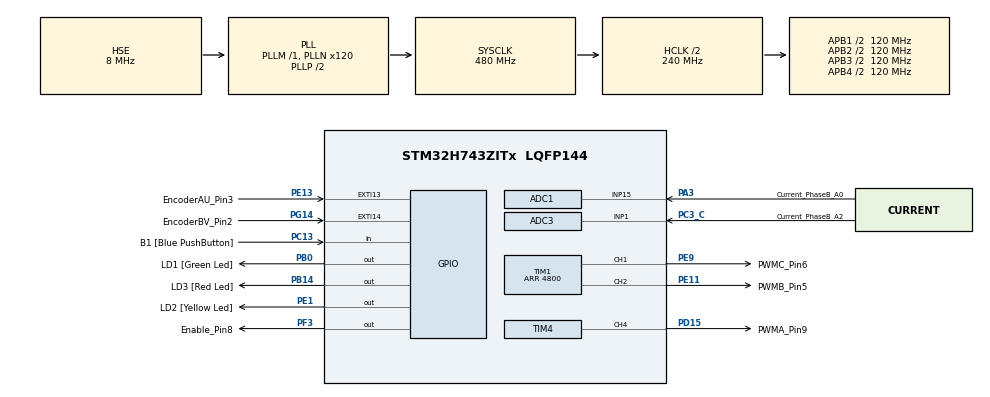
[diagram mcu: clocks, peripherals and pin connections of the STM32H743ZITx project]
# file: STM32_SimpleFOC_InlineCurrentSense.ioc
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ADC1.Channel-0\#ChannelRegularConversion=ADC_CHANNEL_15
ADC1.NbrOfConversionFlag=1
ADC1.OffsetNumber-0\#ChannelRegularConversion=ADC_OFFSET_NONE
ADC1.OffsetSignedSaturation-0\#ChannelRegularConversion=DISABLE
ADC1.Rank-0\#ChannelRegularConversion=1
ADC1.SamplingTime-0\#ChannelRegularConversion=ADC_SAMPLETIME_16CYCLES_5
ADC1.master=1
ADC3.Channel-0\#ChannelRegularConversion=ADC_CHANNEL_1
ADC3.NbrOfConversionFlag=1
ADC3.OffsetNumber-0\#ChannelRegularConversion=ADC_OFFSET_NONE
ADC3.OffsetSignedSaturation-0\#ChannelRegularConversion=DISABLE
ADC3.Rank-0\#ChannelRegularConversion=1
ADC3.SamplingTime-0\#ChannelRegularConversion=ADC_SAMPLETIME_16CYCLES_5
Mcu.Family=STM32H7
Mcu.Name=STM32H743ZITx
Mcu.Package=LQFP144
NVIC.EXTI15_10_IRQn=true\:0\:0\:false\:false\:true\:true\:true
NVIC.PriorityGroup=NVIC_PRIORITYGROUP_4
PA3.GPIO_Label=Current_PhaseB_A0
PA3.Signal=ADCx_INP15
PB0.GPIO_Label=LD1 [Green Led]
PB0.Signal=GPIO_Output
PB14.GPIO_Label=LD3 [Red Led]
PB14.Signal=GPIO_Output
PC13.GPIO_Label=B1 [Blue PushButton]
PC13.Signal=GPIO_Input
PC14-OSC32_IN\ (OSC32_IN).Mode=LSE-External-Oscillator
PC14-OSC32_IN\ (OSC32_IN).Signal=RCC_OSC32_IN
PC15-OSC32_OUT\ (OSC32_OUT).Mode=LSE-External-Oscillator
PC15-OSC32_OUT\ (OSC32_OUT).Signal=RCC_OSC32_OUT
PC3_C.GPIO_Label=Current_PhaseB_A2
PC3_C.Mode=IN1-Single-Ended
PC3_C.Signal=ADC3_INP1
PD15.GPIO_Label=PWMA_Pin9
PD15.Signal=S_TIM4_CH4
PE1.GPIO_Label=LD2 [Yellow Led]
PE1.Signal=GPIO_Output
PE11.GPIO_Label=PWMB_Pin5
PE11.Signal=S_TIM1_CH2
PE13.GPIO_Label=EncoderAU_Pin3
PE13.GPIO_ModeDefaultEXTI=GPIO_MODE_IT_RISING_FALLING
PE13.Signal=GPXTI13
PE9.GPIO_Label=PWMC_Pin6
PE9.Signal=S_TIM1_CH1
PF3.GPIO_Label=Enable_Pin8
PF3.Signal=GPIO_Output
PG14.GPIO_Label=EncoderBV_Pin2
PG14.GPIO_ModeDefaultEXTI=GPIO_MODE_IT_RISING_FALLING
PG14.Signal=GPXTI14
PH0-OSC_IN\ (PH0).Mode=HSE-External-Oscillator
PH0-OSC_IN\ (PH0).Signal=RCC_OSC_IN
PH1-OSC_OUT\ (PH1).Mode=HSE-External-Oscillator
PH1-OSC_OUT\ (PH1).Signal=RCC_OSC_OUT
ProjectManager.HeapSize=0x200
ProjectManager.StackSize=0x400
ProjectManager.TargetToolchain=STM32CubeIDE
RCC.ADCFreq_Value=76000000
RCC.APB1Freq_Value=120000000
RCC.APB2Freq_Value=120000000
RCC.APB3Freq_Value=120000000
RCC.APB4Freq_Value=120000000
RCC.CortexFreq_Value=480000000
RCC.D1PPRE=RCC_APB3_DIV2
RCC.D2PPRE1=RCC_APB1_DIV2
RCC.D2PPRE2=RCC_APB2_DIV2
RCC.D3PPRE=RCC_APB4_DIV2
RCC.DIVM1=1
RCC.DIVM2=1
RCC.DIVN1=120
RCC.DIVN2=19
RCC.DIVQ1=20
RCC.HCLKFreq_Value=240000000
RCC.HPRE=RCC_HCLK_DIV2
RCC.HSE_VALUE=8000000
RCC.PLL2FRACN=0
RCC.PLL3FRACN=0
RCC.PLLFRACN=0
RCC.PLLSourceVirtual=RCC_PLLSOURCE_HSE
RCC.SYSCLKFreq_VALUE=480000000
RCC.SYSCLKSource=RCC_SYSCLKSOURCE_PLLCLK
RCC.USBFreq_Value=48000000
SH.ADCx_INP15.0=ADC1_INP15,IN15-Single-Ended
SH.S_TIM1_CH1.0=TIM1_CH1,PWM Generation1 CH1
SH.S_TIM1_CH2.0=TIM1_CH2,PWM Generation2 CH2
SH.S_TIM4_CH4.0=TIM4_CH4,PWM Generation4 CH4
TIM1.Channel-PWM\ Generation1\ CH1=TIM_CHANNEL_1
TIM1.Channel-PWM\ Generation2\ CH2=TIM_CHANNEL_2
TIM1.CounterMode=TIM_COUNTERMODE_CENTERALIGNED3
TIM1.OCMode_PWM-PWM\ Generation1\ CH1=TIM_OCMODE_PWM2
TIM1.OCMode_PWM-PWM\ Generation2\ CH2=TIM_OCMODE_PWM2
TIM1.Period=4800
TIM4.Channel-PWM\ Generation4\ CH4=TIM_CHANNEL_4
TIM4.CounterMode=TIM_COUNTERMODE_CENTERALIGNED3
TIM4.OCMode_PWM-PWM\ Generation4\ CH4=TIM_OCMODE_PWM2
TIM4.Period=4800
board=NUCLEO-H743ZI2

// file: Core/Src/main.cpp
/* USER CODE BEGIN Header */
/**
  ******************************************************************************
  * @file           : main.c
  * @brief          : Main program body
  ******************************************************************************
  * @attention
  *
  * <h2><center>&copy; Copyright (c) 2021 STMicroelectronics.
  * All rights reserved.</center></h2>
  *
  * This software component is licensed by ST under BSD 3-Clause license,
  * the "License"; You may not use this file except in compliance with the
  * License. You may obtain a copy of the License at:
  *                        opensource.org/licenses/BSD-3-Clause
  *
  ******************************************************************************
  */
/* USER CODE END Header */
#include "main.h"
//#include "sensors/Encoder.hpp"
#include "SimpleFOC.hpp"

ADC_HandleTypeDef hadc1;
ADC_HandleTypeDef hadc3;

TIM_HandleTypeDef htim1;
TIM_HandleTypeDef htim4;

/* USER CODE BEGIN PV */
BLDCMotor motor = BLDCMotor(15);
BLDCDriver3PWM driver = BLDCDriver3PWM(9, 5, 6, 8);
Encoder encoder = Encoder(2,3, 800); //these pins, and values are actually hardcoded
InlineCurrentSense current_sense = InlineCurrentSense(0.01, 50.0, phaseA, phaseB); //pins are hardcoded
/* USER CODE END PV */

void SystemClock_Config(void);
static void MX_GPIO_Init(void);
static void MX_ADC1_Init(void);
static void MX_ADC3_Init(void);
static void MX_TIM1_Init(void);
static void MX_TIM4_Init(void);

/* USER CODE BEGIN 0 */
// function setting the pwm duty cycle to the hardware
// - BLDC motor - 3PWM setting
//- hardware specific
void _writeDutyCycle3PWM(float dc_a,  float dc_b, float dc_c, int pinA, int pinB, int pinC){
	//FIXME - needed to change order of phases
	int pwm_range = htim1.Instance->ARR;
	htim1.Instance->CCR1 = (int)(dc_c * pwm_range);
	htim1.Instance->CCR2 = (int)(dc_a * pwm_range);
	pwm_range = htim4.Instance->ARR;
	htim4.Instance->CCR4 = (int)(dc_b * pwm_range);
}

// function reading an ADC value and returning the read voltage
float _readADCVoltage_pinA(void){
	  HAL_ADC_Start(&hadc1);
	  HAL_ADC_PollForConversion(&hadc1, HAL_MAX_DELAY);
	  return HAL_ADC_GetValue(&hadc1);
}

float _readADCVoltage_pinB(void) {
	  HAL_ADC_Start(&hadc3);
	  HAL_ADC_PollForConversion(&hadc3, HAL_MAX_DELAY);
	  return HAL_ADC_GetValue(&hadc3);
}

int _calibrate_phaseA(void) {
	int sum = 0;
	//calibration process, the calculated calibration value (offset) should be automatically applied
	//during subsequent conversions
	HAL_ADCEx_Calibration_Start(&hadc1, ADC_CALIB_OFFSET_LINEARITY, ADC_SINGLE_ENDED);
	for (int i = 0; i < 100; i++) {
		HAL_ADC_Start(&hadc1);
		HAL_ADC_PollForConversion(&hadc1, HAL_MAX_DELAY);
		sum += HAL_ADC_GetValue(&hadc1);
	}
	return (float)(sum/100.0);
}

int _calibrate_phaseB(void) {
	int sum = 0;
	//calibration process, the calculated calibration value (offset) should be automatically applied
	//during subsequent conversions
	HAL_ADCEx_Calibration_Start(&hadc3, ADC_CALIB_OFFSET_LINEARITY, ADC_SINGLE_ENDED);
	for (int i = 0; i < 100; i++) {
		HAL_ADC_Start(&hadc3);
		HAL_ADC_PollForConversion(&hadc3, HAL_MAX_DELAY);
		sum += HAL_ADC_GetValue(&hadc3);
	}
	return (float)(sum/100);
}
/* USER CODE END 0 */

int main(void)
{

  /* MCU Configuration--------------------------------------------------------*/

  /* Reset of all peripherals, Initializes the Flash interface and the Systick. */
    HAL_Init();

  /* Configure the system clock */
  SystemClock_Config();

  /* Initialize all configured peripherals */
  MX_GPIO_Init();
  MX_ADC1_Init();
  MX_ADC3_Init();
  MX_TIM1_Init();
  MX_TIM4_Init();
  /* USER CODE BEGIN 2 */
  HAL_TIM_Base_Start(&htim1);
  HAL_TIM_Base_Start(&htim4);

  HAL_TIM_PWM_Start(&htim1, TIM_CHANNEL_1);
  HAL_TIM_PWM_Start(&htim1, TIM_CHANNEL_2);
  HAL_TIM_PWM_Start(&htim4, TIM_CHANNEL_4);

// calibration must occur prior to ADC start
//  HAL_ADCEx_Calibration_Start(&hadc1, ADC_CALIB_OFFSET_LINEARITY, ADC_SINGLE_ENDED);
//  int cal_value1 = HAL_ADCEx_Calibration_GetValue(&hadc1, ADC_SINGLE_ENDED);
//  HAL_ADCEx_Calibration_Start(&hadc3, ADC_CALIB_OFFSET_LINEARITY, ADC_SINGLE_ENDED);
//  int cal_value2 = HAL_ADCEx_Calibration_GetValue(&hadc3, ADC_SINGLE_ENDED);
////
//  uint16_t raw;
//
  //  HAL_ADC_Start(&hadc1);
  //  HAL_ADC_Start(&hadc3);
//  HAL_ADC_PollForConversion(&hadc1, HAL_MAX_DELAY);
//  raw = HAL_ADC_GetValue(&hadc1);
//  float voltage_adc1 = ((float)(raw - cal_value1) / 65536) * 3.3;
//  HAL_ADC_PollForConversion(&hadc3, HAL_MAX_DELAY);
//  raw = HAL_ADC_GetValue(&hadc3);
//  float voltage_adc2 = ((float)(raw - cal_value2) / 65536) * 3.3;

//  //open loop velocity example:
//  float target_velocity = 2;//0;
//  //power supply voltage [V]
//  driver.voltage_power_supply = 24;
//  driver.init();
//  //link the motor and the driver
//  motor.linkDriver(&driver);
//  //limiting motor movements
//  motor.voltage_limit = 3; //[V]
//  motor.velocity_limit = 5; //[rad/s]
//  //open loop control config:
//  motor.controller = MotionControlType::velocity_openloop;
//  //init motor hardware
//  motor.init();

    //closed loop velocity example:
  encoder.init();
  //link the motor to the sensor:
  motor.linkSensor(&encoder);
  //driver config:
  driver.voltage_power_supply = 24;
  driver.init();
  //link the motor and the driver:
  motor.linkDriver(&driver);
  //aligning the voltage [V]
  motor.voltage_sensor_align = 3;
  //index search velocity [rad/s]
  motor.velocity_index_search = 3;
  //set motion control loop to be used
  motor.foc_modulation = FOCModulationType::SpaceVectorPWM;
  motor.controller = MotionControlType::torque;
  motor.torque_controller = TorqueControlType::dc_current;//foc_current;//dc_current;//voltage;
  //controller config:
  //see default parameters in defaults.h
  //velocity PI controller parameters
  motor.PID_velocity.P = 0.2;//0.05;
  motor.PID_velocity.I = 20;
  motor.PID_velocity.D = 0;
  //default voltage_power_supply
  motor.voltage_limit = 12;
  //jerk control using voltage voltage ramp
  //default value is 300 volts per sec, ~0.3V/millisec
  motor.PID_velocity.output_ramp = 1000;
  //velocity low pass filtering time constant
  motor.LPF_velocity.Tf = 0.01;
  //angle loop controller
  motor.P_angle.P = 20;
  //angle loop velocity limit
  motor.velocity_limit = 20;
  //current sense init and linking
  current_sense.init();
  motor.linkCurrentSense(&current_sense);

  //initialise motor
  motor.init();
  //align sensor and start FOC
  motor.initFOC();

  int idx = 0;

  _delay(1000);

  /* USER CODE END 2 */

  /* Infinite loop */
  /* USER CODE BEGIN WHILE */
  motor.target = 0.5;// 0.25;
  while (1)
  {
	    /* USER CODE END WHILE */

	    /* USER CODE BEGIN 3 */
//		  HAL_ADC_Start(&hadc1);
//		  HAL_ADC_PollForConversion(&hadc1, HAL_MAX_DELAY);
//		  raw = HAL_ADC_GetValue(&hadc1);
//		  HAL_GPIO_TogglePin(LD1_GPIO_Port, LD1_Pin);
//		  float voltage_adc1 = ((float)(raw - cal_value1) * 3.3) / 65536;
//		  voltage_adc2 = voltage_adc1;

//	  //open loop velocity example:
//	  if (idx % 10000 == 0) {
//		  motor.move(target_velocity);
//	  }
//	  idx++;

	 //   PhaseCurrent_s currents = current_sense.getPhaseCurrents();
	//  current_magnitude = current_sense.getDCCurrent();
	  motor.loopFOC();
	  if (idx % 1000 == 0) {
		  motor.move();//target_velocity);
	  }
	  idx++;
  }
  /* USER CODE END 3 */
}

void SystemClock_Config(void)
{
  RCC_OscInitTypeDef RCC_OscInitStruct = {0};
  RCC_ClkInitTypeDef RCC_ClkInitStruct = {0};
  RCC_PeriphCLKInitTypeDef PeriphClkInitStruct = {0};

  /** Supply configuration update enable
  */
  HAL_PWREx_ConfigSupply(PWR_LDO_SUPPLY);
  /** Configure the main internal regulator output voltage
  */
  __HAL_PWR_VOLTAGESCALING_CONFIG(PWR_REGULATOR_VOLTAGE_SCALE0);

  while(!__HAL_PWR_GET_FLAG(PWR_FLAG_VOSRDY)) {}
  /** Macro to configure the PLL clock source
  */
  __HAL_RCC_PLL_PLLSOURCE_CONFIG(RCC_PLLSOURCE_HSE);
  /** Initializes the RCC Oscillators according to the specified parameters
  * in the RCC_OscInitTypeDef structure.
  */
  RCC_OscInitStruct.OscillatorType = RCC_OSCILLATORTYPE_HSE;
  RCC_OscInitStruct.HSEState = RCC_HSE_ON;
  RCC_OscInitStruct.PLL.PLLState = RCC_PLL_ON;
  RCC_OscInitStruct.PLL.PLLSource = RCC_PLLSOURCE_HSE;
  RCC_OscInitStruct.PLL.PLLM = 1;
  RCC_OscInitStruct.PLL.PLLN = 120;
  RCC_OscInitStruct.PLL.PLLP = 2;
  RCC_OscInitStruct.PLL.PLLQ = 20;
  RCC_OscInitStruct.PLL.PLLR = 2;
  RCC_OscInitStruct.PLL.PLLRGE = RCC_PLL1VCIRANGE_3;
  RCC_OscInitStruct.PLL.PLLVCOSEL = RCC_PLL1VCOWIDE;
  RCC_OscInitStruct.PLL.PLLFRACN = 0;
  if (HAL_RCC_OscConfig(&RCC_OscInitStruct) != HAL_OK)
  {
    Error_Handler();
  }
  /** Initializes the CPU, AHB and APB buses clocks
  */
  RCC_ClkInitStruct.ClockType = RCC_CLOCKTYPE_HCLK|RCC_CLOCKTYPE_SYSCLK
                              |RCC_CLOCKTYPE_PCLK1|RCC_CLOCKTYPE_PCLK2
                              |RCC_CLOCKTYPE_D3PCLK1|RCC_CLOCKTYPE_D1PCLK1;
  RCC_ClkInitStruct.SYSCLKSource = RCC_SYSCLKSOURCE_PLLCLK;
  RCC_ClkInitStruct.SYSCLKDivider = RCC_SYSCLK_DIV1;
  RCC_ClkInitStruct.AHBCLKDivider = RCC_HCLK_DIV2;
  RCC_ClkInitStruct.APB3CLKDivider = RCC_APB3_DIV2;
  RCC_ClkInitStruct.APB1CLKDivider = RCC_APB1_DIV2;
  RCC_ClkInitStruct.APB2CLKDivider = RCC_APB2_DIV2;
  RCC_ClkInitStruct.APB4CLKDivider = RCC_APB4_DIV2;

  if (HAL_RCC_ClockConfig(&RCC_ClkInitStruct, FLASH_LATENCY_4) != HAL_OK)
  {
    Error_Handler();
  }
  PeriphClkInitStruct.PeriphClockSelection = RCC_PERIPHCLK_ADC;
  PeriphClkInitStruct.PLL2.PLL2M = 1;
  PeriphClkInitStruct.PLL2.PLL2N = 19;
  PeriphClkInitStruct.PLL2.PLL2P = 2;
  PeriphClkInitStruct.PLL2.PLL2Q = 2;
  PeriphClkInitStruct.PLL2.PLL2R = 2;
  PeriphClkInitStruct.PLL2.PLL2RGE = RCC_PLL2VCIRANGE_3;
  PeriphClkInitStruct.PLL2.PLL2VCOSEL = RCC_PLL2VCOMEDIUM;
  PeriphClkInitStruct.PLL2.PLL2FRACN = 0;
  PeriphClkInitStruct.AdcClockSelection = RCC_ADCCLKSOURCE_PLL2;
  if (HAL_RCCEx_PeriphCLKConfig(&PeriphClkInitStruct) != HAL_OK)
  {
    Error_Handler();
  }
}

static void MX_ADC1_Init(void)
{

  ADC_MultiModeTypeDef multimode = {0};
  ADC_ChannelConfTypeDef sConfig = {0};

  /** Common config
  */
  hadc1.Instance = ADC1;
  hadc1.Init.ClockPrescaler = ADC_CLOCK_ASYNC_DIV1;
  hadc1.Init.Resolution = ADC_RESOLUTION_16B;
  hadc1.Init.ScanConvMode = ADC_SCAN_DISABLE;
  hadc1.Init.EOCSelection = ADC_EOC_SINGLE_CONV;
  hadc1.Init.LowPowerAutoWait = DISABLE;
  hadc1.Init.ContinuousConvMode = DISABLE;
  hadc1.Init.NbrOfConversion = 1;
  hadc1.Init.DiscontinuousConvMode = DISABLE;
  hadc1.Init.ExternalTrigConv = ADC_SOFTWARE_START;
  hadc1.Init.ExternalTrigConvEdge = ADC_EXTERNALTRIGCONVEDGE_NONE;
  hadc1.Init.ConversionDataManagement = ADC_CONVERSIONDATA_DR;
  hadc1.Init.Overrun = ADC_OVR_DATA_PRESERVED;
  hadc1.Init.LeftBitShift = ADC_LEFTBITSHIFT_NONE;
  hadc1.Init.OversamplingMode = DISABLE;
  if (HAL_ADC_Init(&hadc1) != HAL_OK)
  {
    Error_Handler();
  }
  /** Configure the ADC multi-mode
  */
  multimode.Mode = ADC_MODE_INDEPENDENT;
  if (HAL_ADCEx_MultiModeConfigChannel(&hadc1, &multimode) != HAL_OK)
  {
    Error_Handler();
  }
  /** Configure Regular Channel
  */
  sConfig.Channel = ADC_CHANNEL_15;
  sConfig.Rank = ADC_REGULAR_RANK_1;
  sConfig.SamplingTime = ADC_SAMPLETIME_16CYCLES_5;
  sConfig.SingleDiff = ADC_SINGLE_ENDED;
  sConfig.OffsetNumber = ADC_OFFSET_NONE;
  sConfig.Offset = 0;
  sConfig.OffsetSignedSaturation = DISABLE;
  if (HAL_ADC_ConfigChannel(&hadc1, &sConfig) != HAL_OK)
  {
    Error_Handler();
  }

}

static void MX_ADC3_Init(void)
{

  ADC_ChannelConfTypeDef sConfig = {0};

  /** Common config
  */
  hadc3.Instance = ADC3;
  hadc3.Init.ClockPrescaler = ADC_CLOCK_ASYNC_DIV1;
  hadc3.Init.Resolution = ADC_RESOLUTION_16B;
  hadc3.Init.ScanConvMode = ADC_SCAN_DISABLE;
  hadc3.Init.EOCSelection = ADC_EOC_SINGLE_CONV;
  hadc3.Init.LowPowerAutoWait = DISABLE;
  hadc3.Init.ContinuousConvMode = DISABLE;
  hadc3.Init.NbrOfConversion = 1;
  hadc3.Init.DiscontinuousConvMode = DISABLE;
  hadc3.Init.ExternalTrigConv = ADC_SOFTWARE_START;
  hadc3.Init.ExternalTrigConvEdge = ADC_EXTERNALTRIGCONVEDGE_NONE;
  hadc3.Init.ConversionDataManagement = ADC_CONVERSIONDATA_DR;
  hadc3.Init.Overrun = ADC_OVR_DATA_PRESERVED;
  hadc3.Init.LeftBitShift = ADC_LEFTBITSHIFT_NONE;
  hadc3.Init.OversamplingMode = DISABLE;
  if (HAL_ADC_Init(&hadc3) != HAL_OK)
  {
    Error_Handler();
  }
  /** Configure Regular Channel
  */
  sConfig.Channel = ADC_CHANNEL_1;
  sConfig.Rank = ADC_REGULAR_RANK_1;
  sConfig.SamplingTime = ADC_SAMPLETIME_16CYCLES_5;
  sConfig.SingleDiff = ADC_SINGLE_ENDED;
  sConfig.OffsetNumber = ADC_OFFSET_NONE;
  sConfig.Offset = 0;
  sConfig.OffsetSignedSaturation = DISABLE;
  if (HAL_ADC_ConfigChannel(&hadc3, &sConfig) != HAL_OK)
  {
    Error_Handler();
  }

}

static void MX_TIM1_Init(void)
{

  TIM_MasterConfigTypeDef sMasterConfig = {0};
  TIM_OC_InitTypeDef sConfigOC = {0};
  TIM_BreakDeadTimeConfigTypeDef sBreakDeadTimeConfig = {0};

  htim1.Instance = TIM1;
  htim1.Init.Prescaler = 0;
  htim1.Init.CounterMode = TIM_COUNTERMODE_CENTERALIGNED3;
  htim1.Init.Period = 4800;
  htim1.Init.ClockDivision = TIM_CLOCKDIVISION_DIV1;
  htim1.Init.RepetitionCounter = 0;
  htim1.Init.AutoReloadPreload = TIM_AUTORELOAD_PRELOAD_DISABLE;
  if (HAL_TIM_PWM_Init(&htim1) != HAL_OK)
  {
    Error_Handler();
  }
  sMasterConfig.MasterOutputTrigger = TIM_TRGO_RESET;
  sMasterConfig.MasterOutputTrigger2 = TIM_TRGO2_RESET;
  sMasterConfig.MasterSlaveMode = TIM_MASTERSLAVEMODE_DISABLE;
  if (HAL_TIMEx_MasterConfigSynchronization(&htim1, &sMasterConfig) != HAL_OK)
  {
    Error_Handler();
  }
  sConfigOC.OCMode = TIM_OCMODE_PWM1;
  sConfigOC.Pulse = 0;
  sConfigOC.OCPolarity = TIM_OCPOLARITY_HIGH;
  sConfigOC.OCNPolarity = TIM_OCNPOLARITY_HIGH;
  sConfigOC.OCFastMode = TIM_OCFAST_DISABLE;
  sConfigOC.OCIdleState = TIM_OCIDLESTATE_RESET;
  sConfigOC.OCNIdleState = TIM_OCNIDLESTATE_RESET;
  if (HAL_TIM_PWM_ConfigChannel(&htim1, &sConfigOC, TIM_CHANNEL_1) != HAL_OK)
  {
    Error_Handler();
  }
  if (HAL_TIM_PWM_ConfigChannel(&htim1, &sConfigOC, TIM_CHANNEL_2) != HAL_OK)
  {
    Error_Handler();
  }
  sBreakDeadTimeConfig.OffStateRunMode = TIM_OSSR_DISABLE;
  sBreakDeadTimeConfig.OffStateIDLEMode = TIM_OSSI_DISABLE;
  sBreakDeadTimeConfig.LockLevel = TIM_LOCKLEVEL_OFF;
  sBreakDeadTimeConfig.DeadTime = 0;
  sBreakDeadTimeConfig.BreakState = TIM_BREAK_DISABLE;
  sBreakDeadTimeConfig.BreakPolarity = TIM_BREAKPOLARITY_HIGH;
  sBreakDeadTimeConfig.BreakFilter = 0;
  sBreakDeadTimeConfig.Break2State = TIM_BREAK2_DISABLE;
  sBreakDeadTimeConfig.Break2Polarity = TIM_BREAK2POLARITY_HIGH;
  sBreakDeadTimeConfig.Break2Filter = 0;
  sBreakDeadTimeConfig.AutomaticOutput = TIM_AUTOMATICOUTPUT_DISABLE;
  if (HAL_TIMEx_ConfigBreakDeadTime(&htim1, &sBreakDeadTimeConfig) != HAL_OK)
  {
    Error_Handler();
  }
  HAL_TIM_MspPostInit(&htim1);

}

static void MX_TIM4_Init(void)
{

  TIM_MasterConfigTypeDef sMasterConfig = {0};
  TIM_OC_InitTypeDef sConfigOC = {0};

  htim4.Instance = TIM4;
  htim4.Init.Prescaler = 0;
  htim4.Init.CounterMode = TIM_COUNTERMODE_CENTERALIGNED3;
  htim4.Init.Period = 4800;
  htim4.Init.ClockDivision = TIM_CLOCKDIVISION_DIV1;
  htim4.Init.AutoReloadPreload = TIM_AUTORELOAD_PRELOAD_DISABLE;
  if (HAL_TIM_PWM_Init(&htim4) != HAL_OK)
  {
    Error_Handler();
  }
  sMasterConfig.MasterOutputTrigger = TIM_TRGO_RESET;
  sMasterConfig.MasterSlaveMode = TIM_MASTERSLAVEMODE_DISABLE;
  if (HAL_TIMEx_MasterConfigSynchronization(&htim4, &sMasterConfig) != HAL_OK)
  {
    Error_Handler();
  }
  sConfigOC.OCMode = TIM_OCMODE_PWM1;
  sConfigOC.Pulse = 0;
  sConfigOC.OCPolarity = TIM_OCPOLARITY_HIGH;
  sConfigOC.OCFastMode = TIM_OCFAST_DISABLE;
  if (HAL_TIM_PWM_ConfigChannel(&htim4, &sConfigOC, TIM_CHANNEL_4) != HAL_OK)
  {
    Error_Handler();
  }
  HAL_TIM_MspPostInit(&htim4);

}

static void MX_GPIO_Init(void)
{
  GPIO_InitTypeDef GPIO_InitStruct = {0};

  /* GPIO Ports Clock Enable */
  __HAL_RCC_GPIOC_CLK_ENABLE();
  __HAL_RCC_GPIOF_CLK_ENABLE();
  __HAL_RCC_GPIOH_CLK_ENABLE();
  __HAL_RCC_GPIOA_CLK_ENABLE();
  __HAL_RCC_GPIOB_CLK_ENABLE();
  __HAL_RCC_GPIOE_CLK_ENABLE();
  __HAL_RCC_GPIOD_CLK_ENABLE();
  __HAL_RCC_GPIOG_CLK_ENABLE();

  /*Configure GPIO pin Output Level */
  HAL_GPIO_WritePin(Enable_Pin8_GPIO_Port, Enable_Pin8_Pin, GPIO_PIN_RESET);

  /*Configure GPIO pin Output Level */
  HAL_GPIO_WritePin(GPIOB, LD1_Pin|LD3_Pin, GPIO_PIN_RESET);

  /*Configure GPIO pin Output Level */
  HAL_GPIO_WritePin(LD2_GPIO_Port, LD2_Pin, GPIO_PIN_RESET);

  /*Configure GPIO pin : B1_Pin */
  GPIO_InitStruct.Pin = B1_Pin;
  GPIO_InitStruct.Mode = GPIO_MODE_INPUT;
  GPIO_InitStruct.Pull = GPIO_NOPULL;
  HAL_GPIO_Init(B1_GPIO_Port, &GPIO_InitStruct);

  /*Configure GPIO pin : Enable_Pin8_Pin */
  GPIO_InitStruct.Pin = Enable_Pin8_Pin;
  GPIO_InitStruct.Mode = GPIO_MODE_OUTPUT_PP;
  GPIO_InitStruct.Pull = GPIO_NOPULL;
  GPIO_InitStruct.Speed = GPIO_SPEED_FREQ_LOW;
  HAL_GPIO_Init(Enable_Pin8_GPIO_Port, &GPIO_InitStruct);

  /*Configure GPIO pins : LD1_Pin LD3_Pin */
  GPIO_InitStruct.Pin = LD1_Pin|LD3_Pin;
  GPIO_InitStruct.Mode = GPIO_MODE_OUTPUT_PP;
  GPIO_InitStruct.Pull = GPIO_NOPULL;
  GPIO_InitStruct.Speed = GPIO_SPEED_FREQ_LOW;
  HAL_GPIO_Init(GPIOB, &GPIO_InitStruct);

  /*Configure GPIO pin : EncoderAU_Pin3_Pin */
  GPIO_InitStruct.Pin = EncoderAU_Pin3_Pin;
  GPIO_InitStruct.Mode = GPIO_MODE_IT_RISING_FALLING;
  GPIO_InitStruct.Pull = GPIO_NOPULL;
  HAL_GPIO_Init(EncoderAU_Pin3_GPIO_Port, &GPIO_InitStruct);

  /*Configure GPIO pin : EncoderBV_Pin2_Pin */
  GPIO_InitStruct.Pin = EncoderBV_Pin2_Pin;
  GPIO_InitStruct.Mode = GPIO_MODE_IT_RISING_FALLING;
  GPIO_InitStruct.Pull = GPIO_NOPULL;
  HAL_GPIO_Init(EncoderBV_Pin2_GPIO_Port, &GPIO_InitStruct);

  /*Configure GPIO pin : LD2_Pin */
  GPIO_InitStruct.Pin = LD2_Pin;
  GPIO_InitStruct.Mode = GPIO_MODE_OUTPUT_PP;
  GPIO_InitStruct.Pull = GPIO_NOPULL;
  GPIO_InitStruct.Speed = GPIO_SPEED_FREQ_LOW;
  HAL_GPIO_Init(LD2_GPIO_Port, &GPIO_InitStruct);

  /* EXTI interrupt init*/
  HAL_NVIC_SetPriority(EXTI15_10_IRQn, 0, 0);
  HAL_NVIC_EnableIRQ(EXTI15_10_IRQn);

}

/* USER CODE BEGIN 4 */
void HAL_GPIO_EXTI_Callback(uint16_t GPIO_Pin) {
	if (GPIO_Pin == EncoderAU_Pin3_Pin) {
		encoder.handleA();
	}
	if (GPIO_Pin == EncoderBV_Pin2_Pin) {
		encoder.handleB();
	}
}
/* USER CODE END 4 */

void Error_Handler(void)
{
  __disable_irq();
  while (1)
  {
  }
}

/************************ (C) COPYRIGHT STMicroelectronics *****END OF FILE****/
